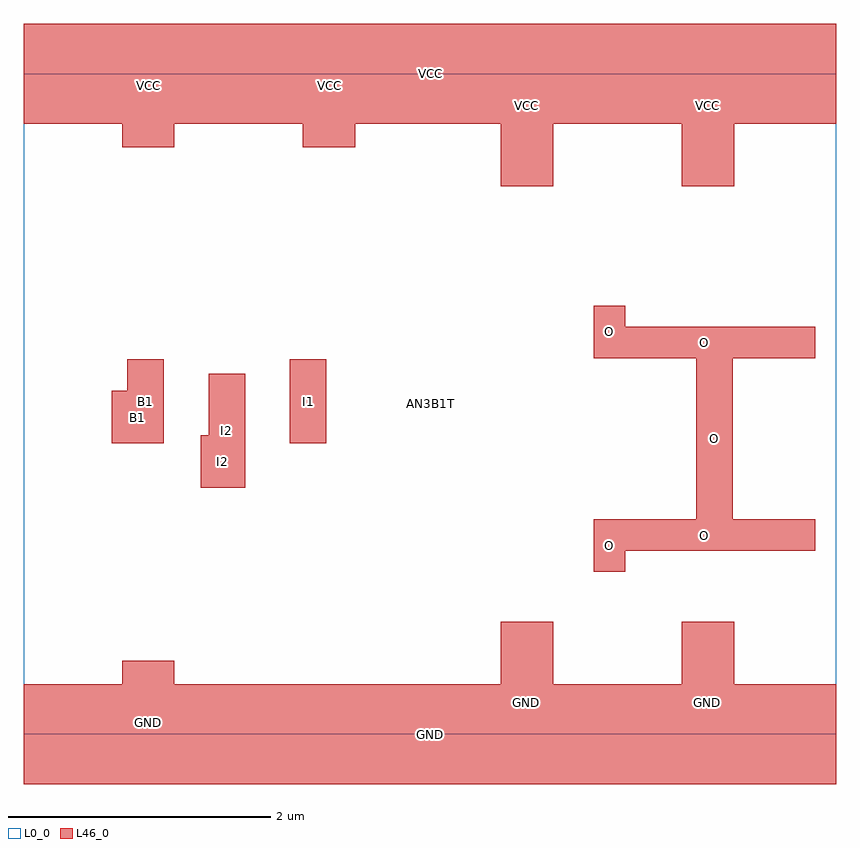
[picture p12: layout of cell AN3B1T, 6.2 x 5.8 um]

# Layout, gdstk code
import gdstk
lib = gdstk.Library(unit=1e-6, precision=1e-09)
def R(c, l, rs):  # rectangles x0, y0, x1, y1
    for r in rs: c.add(gdstk.rectangle(r[:2], r[2:], *l))
L0_0 = (0, 0)
L46_0 = (46, 0)

an3b1t = lib.new_cell('AN3B1T')
R(an3b1t, L0_0, [(0,0,6.2,5.04)])
R(an3b1t, L46_0, [(0,-0.38,6.2,0.38), (0.75,-0.38,1.15,0.56), (3.64,-0.38,4.04,0.86), (5.02,-0.38,5.42,0.86), (4.35,1.24,4.59,1.64), (4.35,1.4,6.04,1.64), (5.13,1.4,5.41,3.11), (1.35,1.88,1.69,2.28), (1.41,1.88,1.69,2.75), (0.67,2.22,1.07,2.62), (0.79,2.22,1.07,2.86), (2.03,2.22,2.31,2.86), (4.35,2.87,4.59,3.27), (4.35,2.87,6.04,3.11), (3.64,4.18,4.04,5.42), (5.02,4.18,5.42,5.42), (0.75,4.48,1.15,5.42), (2.13,4.48,2.53,5.42), (0,4.66,6.2,5.42)])
an3b1t.add(gdstk.Label('AN3B1T', (3.1,2.52), layer=0, texttype=0))
an3b1t.add(gdstk.Label('O', (4.47,3.07), layer=101, texttype=0))
an3b1t.add(gdstk.Label('O', (5.27,2.255), layer=101, texttype=0))
an3b1t.add(gdstk.Label('O', (5.195,1.52), layer=101, texttype=0))
an3b1t.add(gdstk.Label('O', (5.195,2.99), layer=101, texttype=0))
an3b1t.add(gdstk.Label('O', (4.47,1.44), layer=101, texttype=0))
an3b1t.add(gdstk.Label('I2', (1.55,2.315), layer=101, texttype=0))
an3b1t.add(gdstk.Label('I2', (1.52,2.08), layer=101, texttype=0))
an3b1t.add(gdstk.Label('I1', (2.17,2.54), layer=101, texttype=0))
an3b1t.add(gdstk.Label('B1', (0.93,2.54), layer=101, texttype=0))
an3b1t.add(gdstk.Label('B1', (0.87,2.42), layer=101, texttype=0))
an3b1t.add(gdstk.Label('GND', (3.84,0.24), layer=101, texttype=0))
an3b1t.add(gdstk.Label('GND', (5.22,0.24), layer=101, texttype=0))
an3b1t.add(gdstk.Label('GND', (3.1,0), layer=101, texttype=0))
an3b1t.add(gdstk.Label('GND', (0.95,0.09), layer=101, texttype=0))
an3b1t.add(gdstk.Label('VCC', (2.33,4.95), layer=101, texttype=0))
an3b1t.add(gdstk.Label('VCC', (3.84,4.8), layer=101, texttype=0))
an3b1t.add(gdstk.Label('VCC', (5.22,4.8), layer=101, texttype=0))
an3b1t.add(gdstk.Label('VCC', (3.1,5.04), layer=101, texttype=0))
an3b1t.add(gdstk.Label('VCC', (0.95,4.95), layer=101, texttype=0))

lib.write_gds('AN3B1T.gds')
